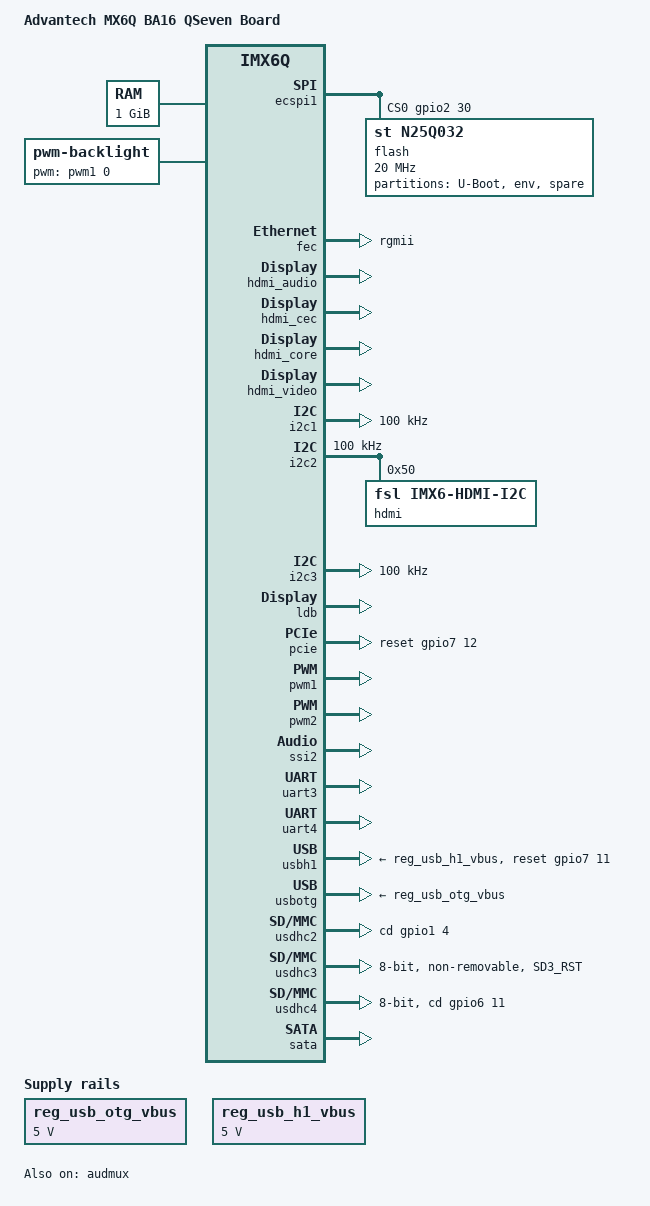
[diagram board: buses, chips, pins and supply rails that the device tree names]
/*
 * Copyright 2012 Freescale Semiconductor, Inc.
 * Copyright 2011 Linaro Ltd.
 *
 * The code contained herein is licensed under the GNU General Public
 * License. You may obtain a copy of the GNU General Public License
 * Version 2 or later at the following locations:
 *
 * http://www.opensource.org/licenses/gpl-license.html
 * http://www.gnu.org/copyleft/gpl.html
 */

/dts-v1/;

#include "imx6q.dtsi"

/ {
	model = "Advantech MX6Q BA16 QSeven Board";
	compatible = "fsl,mx6q-ba16", "fsl,imx6q";

	aliases {
		mxcfb0 = &mxcfb1;
		mxcfb1 = &mxcfb2;
	};

	memory {
		reg = <0x10000000 0x40000000>;
	};

	regulators {
		compatible = "simple-bus";

		reg_usb_otg_vbus: usb_otg_vbus {
			compatible = "regulator-fixed";
			regulator-name = "usb_otg_vbus";
			regulator-min-microvolt = <5000000>;
			regulator-max-microvolt = <5000000>;
		};

		reg_usb_h1_vbus: usb_h1_vbus {
			compatible = "regulator-fixed";
			regulator-name = "usb_h1_vbus";
			regulator-min-microvolt = <5000000>;
			regulator-max-microvolt = <5000000>;
		};
	};

	sound-hdmi {
		compatible = "fsl,imx6q-audio-hdmi",
			     "fsl,imx-audio-hdmi"; model = "imx-audio-hdmi";
		hdmi-controller = <&hdmi_audio>;
	};

	mxcfb1: fb@0 {
		compatible = "fsl,mxc_sdc_fb";
		disp_dev = "hdmi";
		interface_pix_fmt = "RGB24";
		mode_str ="1920x1080M@60";
		default_bpp = <32>;
		int_clk = <0>;
		late_init = <0>;
		status = "okay";
	};


	mxcfb2: fb@1 {
		compatible = "fsl,mxc_sdc_fb";
		disp_dev = "ldb";
		interface_pix_fmt = "RGB24";
		mode_str = "SHARP-LQ156M1LG21";
		default_bpp = <32>;
		int_clk = <0>;
		late_init = <0>;
		status = "okay";
	};

	backlight {
		compatible = "pwm-backlight";
		pwms = <&pwm1 0 5000000>;
		brightness-levels = <0 4 8 16 32 64 128 255>;
		default-brightness-level = <7>;
	};

	v4l2_out {
		compatible = "fsl,mxc_v4l2_output";
		status = "okay";
	};
};

&audmux {
	pinctrl-names = "default";
	pinctrl-0 = <&pinctrl_audmux_4>;
	status = "okay";
};

&ecspi1 {
	fsl,spi-num-chipselects = <1>;
	cs-gpios = <&gpio2 30 0>;
	pinctrl-names = "default";
	pinctrl-0 = <&pinctrl_ecspi1_1>;
	status = "okay";

	flash: n25q032@0 {
		#address-cells = <1>;
		#size-cells = <1>;
		compatible = "st,n25q032";
		spi-max-frequency = <20000000>;
		reg = <0>;
		partition@0 {
			label = "U-Boot";
			reg = <0x0 0xC0000>;
			read-only;
		};
		partition@C0000 {
			label = "env";
			reg = <0xC0000 0x10000>;
			read-only;
		};
		partition@D0000 {
			label = "spare";
			reg = <0xD0000 0x130000>;
		};
	};
};

&fec {
	pinctrl-names = "default";
	pinctrl-0 = <&pinctrl_enet_4>;
	phy-mode = "rgmii";
	status = "okay";
};

&cpu0 {
	arm-supply = <&reg_arm>;
	soc-supply = <&reg_soc>;
	pu-supply = <&reg_pu>;
};

&gpc {
	fsl,cpu_pupscr_sw2iso = <0xf>;
	fsl,cpu_pupscr_sw = <0xf>;
	fsl,cpu_pdnscr_iso2sw = <0x1>;
	fsl,cpu_pdnscr_iso = <0x1>;
	fsl,ldo-bypass = <0>;
	fsl,wdog-reset = <1>; /* watchdog select of reset source */
	pu-supply = <&reg_pu>;
};

&gpu {
	pu-supply = <&reg_pu>;
};

&hdmi_audio {
	status = "okay";
};

&hdmi_cec {
	pinctrl-names = "default";
	pinctrl-0 = <&pinctrl_hdmi_cec_2>;
	status = "okay";
};

&hdmi_core {
	ipu_id = <0>;
	disp_id = <1>;
	status = "okay";
};

&hdmi_video {
	fsl,phy_reg_vlev = <0x0294>;
	fsl,phy_reg_cksymtx = <0x800d>;
	status = "okay";
};

&i2c1 {
	clock-frequency = <100000>;
	pinctrl-names = "default";
	pinctrl-0 = <&pinctrl_i2c1_2>;
	status = "okay";
};

&i2c2 {
	clock-frequency = <100000>;
	pinctrl-names = "default";
	pinctrl-0 = <&pinctrl_i2c2_2>;
	status = "okay";

	hdmi: edid@50 {
		compatible = "fsl,imx6-hdmi-i2c";
		reg = <0x50>;
	};
};

&i2c3 {
        clock-frequency = <100000>;
        pinctrl-names = "default";
        pinctrl-0 = <&pinctrl_i2c3_2>;
        status = "okay";
};

&iomuxc {
	pinctrl-names = "default";
	pinctrl-0 = <&pinctrl_hog_1>;

	hog {
		pinctrl_hog_1: hoggrp-1 {
			fsl,pins = <
				MX6QDL_PAD_GPIO_4__GPIO1_IO04    0x80000000	/* uSDHC2 CD */
				MX6QDL_PAD_NANDF_CS0__GPIO6_IO11 0x80000000	/* uSDHC4 CD */
				MX6QDL_PAD_NANDF_CS1__GPIO6_IO14 0x80000000	/* uSDHC4 SDIO PWR */
				MX6QDL_PAD_NANDF_CS2__GPIO6_IO15 0x80000000	/* uSDHC4 SDIO WP */
				MX6QDL_PAD_NANDF_CS3__GPIO6_IO16 0x80000000	/* uSDHC4 SDIO LED */
				MX6QDL_PAD_EIM_EB2__GPIO2_IO30   0x80000000	/* SPI1 CS */
				MX6QDL_PAD_GPIO_17__GPIO7_IO12   0x80000000	/* PCIe Reset */
				MX6QDL_PAD_GPIO_5__GPIO1_IO05    0x80000000	/* PCIe Wake */
				MX6QDL_PAD_GPIO_0__CCM_CLKO1    0x130b0		/* FEC CLK */
				MX6QDL_PAD_ENET_TX_EN__GPIO1_IO28 0x80000000	/* FEC Reset */
				MX6QDL_PAD_NANDF_D0__GPIO2_IO00 0x80000000	/* GPIO0 */
				MX6QDL_PAD_NANDF_D1__GPIO2_IO01 0x80000000	/* GPIO1 */
				MX6QDL_PAD_NANDF_D2__GPIO2_IO02 0x80000000	/* GPIO2 */
				MX6QDL_PAD_NANDF_D3__GPIO2_IO03 0x80000000	/* GPIO3 */
				MX6QDL_PAD_NANDF_D4__GPIO2_IO04 0x80000000	/* GPIO4 */
				MX6QDL_PAD_NANDF_D5__GPIO2_IO05 0x80000000	/* GPIO5 */
				MX6QDL_PAD_NANDF_D6__GPIO2_IO06 0x80000000	/* GPIO6 */
				MX6QDL_PAD_NANDF_D7__GPIO2_IO07 0x80000000	/* GPIO7 */
				MX6QDL_PAD_NANDF_CLE__GPIO6_IO07 0x80000000	/* CAM_PWDN */
				MX6QDL_PAD_GPIO_2__GPIO1_IO02 0x80000000	/* CAM_RST */
				MX6QDL_PAD_GPIO_9__WDOG1_B 0x80000000		/* Watchdog out */
				MX6QDL_PAD_GPIO_16__GPIO7_IO11   0x80000000	/* HUB_RESET */
				MX6QDL_PAD_GPIO_18__GPIO7_IO13   0x80000000	/* PMIC Interrupt */
				MX6QDL_PAD_GPIO_19__GPIO4_IO05   0x80000000	/* AR8033 Interrupt */
				MX6QDL_PAD_KEY_ROW4__GPIO4_IO15  0x80000000	/* BLEN_OUT */
				MX6QDL_PAD_EIM_D22__GPIO3_IO22   0x80000000	/* LVDS_PPEN_OUT */
			>;
		};
	};

	usdhc3 {
		pinctrl_usdhc3_reset: usdhc3grp-reset {
			fsl,pins = <
				MX6QDL_PAD_SD3_RST__SD3_RESET   0x170F9
			>;
		};
	};

	audmux {
		pinctrl_audmux_4: audmux-4 {
			fsl,pins = <
				MX6QDL_PAD_DISP0_DAT20__AUD4_TXC  0x130b0
				MX6QDL_PAD_DISP0_DAT21__AUD4_TXD  0x130b0
				MX6QDL_PAD_DISP0_DAT22__AUD4_TXFS  0x130b0
				MX6QDL_PAD_DISP0_DAT23__AUD4_RXD  0x130b0
			>;
		};
	};
};

&ldb {
	fsl,dual-channel;
	status = "okay";

	lvds-channel@0 {
		fsl,data-mapping = "spwg";
		fsl,data-width = <24>;
		status = "okay";

		display-timings {
			native-mode = <&timing0>;
			timing0: SHARP-LQ156M1LG21 {
				clock-frequency = <65000000>;
				hactive = <1920>;
				vactive = <1080>;
				hback-porch = <100>;
				hfront-porch = <40>;
				vback-porch = <30>;
				vfront-porch = <3>;
				hsync-len = <10>;
				vsync-len = <2>;
			};
		};
	};
};

&pcie {
	power-on-gpio = <&gpio1 5 0>;
	reset-gpio = <&gpio7 12 0>;
	status = "okay";
};


&pwm1 {
	pinctrl-names = "default";
	pinctrl-0 = <&pinctrl_pwm1_1>;
	status = "okay";
};

&pwm2 {
	pinctrl-names = "default";
	pinctrl-0 = <&pinctrl_pwm2_2>;
	status = "okay";
};

&ssi2 {
	fsl,mode = "i2s-slave";
	status = "okay";
};

&uart3 {
	pinctrl-names = "default";
	pinctrl-0 = <&pinctrl_uart3_2>;
	status = "okay";
};

&uart4 {
	pinctrl-names = "default";
	pinctrl-0 = <&pinctrl_uart4_1>;
	status = "okay";
};

&usbh1 {
	vbus-supply = <&reg_usb_h1_vbus>;
	reset-gpios = <&gpio7 11 0>;
	status = "okay";
};

&usbotg {
	vbus-supply = <&reg_usb_otg_vbus>;
	pinctrl-names = "default";
	pinctrl-0 = <&pinctrl_usbotg_2>;
	disable-over-current;
	status = "okay";
};

&usdhc2 {
	pinctrl-names = "default";
	pinctrl-0 = <&pinctrl_usdhc2_2>;
	cd-gpios = <&gpio1 4 0>;
	no-1-8-v;
	keep-power-in-suspend;
	enable-sdio-wakeup;
	status = "okay";
};

&usdhc3 {
	pinctrl-names = "default";
	pinctrl-0 = <&pinctrl_usdhc3_1 &pinctrl_usdhc3_reset>;
        bus-width = <8>;
	no-1-8-v;
        non-removable;
	keep-power-in-suspend;
	status = "okay";
};

&usdhc4 {
        pinctrl-names = "default";
        pinctrl-0 = <&pinctrl_usdhc4_1>;
        bus-width = <8>;
	cd-gpios = <&gpio6 11 0>;
        no-1-8-v;
	keep-power-in-suspend;
	enable-sdio-wakeup;
        status = "okay";
};

&vpu {
	pu-supply = <&reg_pu>;
};

&sata {
	status = "okay";
};
